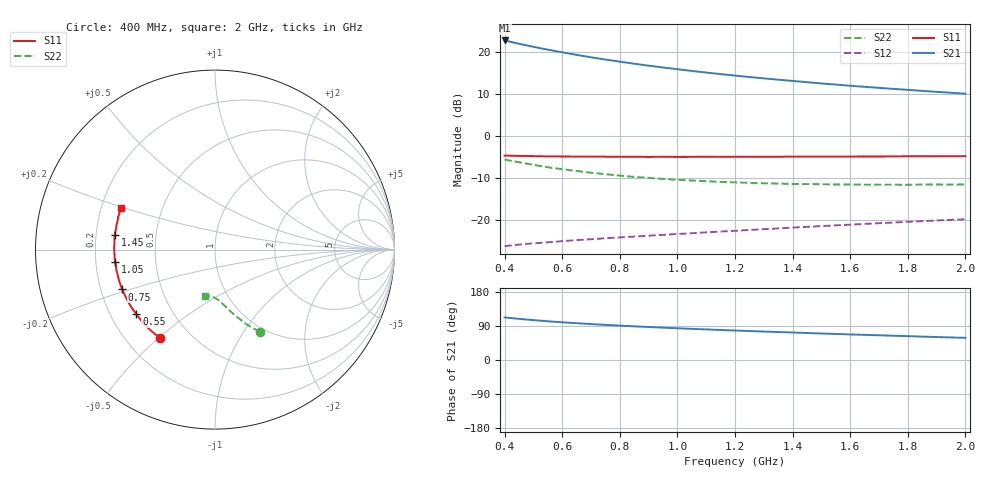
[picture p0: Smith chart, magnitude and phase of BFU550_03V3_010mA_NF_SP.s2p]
! Filename:  P:\Prog\Test\Noise\ATS_data\Testdata_Net\06 Compressed Noise after Statistics\BFU550_APG2013_43_D05_03p3V_010mA_NF_CM01_D.sf
! Date/Time: Fri 26/Apr/2013 13:07:20
! BFU550_APG2013_43_D05_03p3V_1to35mA_NF_CM01_Bias5_R.sf
! Noise Parameter Data File
! BFU550_APG2013_43_D05_03p3V_1to35mA_NF_CM01
! Date/time: Thu Apr 25 15:07:57 2013
! VAR V_out= 3.300000
! VAR I_out= 10.000000
! VAR V_in= 0.831400
! VAR I_in= 0.111705
! Device data file deembeded for feedlines and parallel
! Original file: \06 Compressed Noise after Statistics\BFU550_APG2013_43_D05_03p3V_010mA_NF_CM01_R.sf
! Feed-files: PR047V01_250413_Feed1.s2p, PR047V01_250413_Feed2.s2p
! Parallel-file: PR047V01_250413_Par.s2p
# MHz S MA R 50
!  Freq-MHz  S11-mag  S11-arg  S21-mag  S21-arg  S12-mag  S12-arg  S22-mag  S22-arg
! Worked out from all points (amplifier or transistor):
!   37 points, 400 MHz to 2 GHz, reference 50 ohm
!   highest |S21| = 22.7 dB at 400 MHz (marker M1)
!   |S21| within 3 dB of that: start of sweep to 614.6 MHz
!   unconditionally stable (mu >= 1): 1.689 GHz to end of sweep
!   at 500 MHz: K = 0.49, MSG = 23.4 dB, |S12| = -25.6 dB
!   at 1.1 GHz: K = 0.84, MSG = 19.0 dB, |S12| = -23.0 dB
!   at 2 GHz: K = 1.05, MAG = 13.6 dB, |S12| = -19.9 dB
!   lowest NFmin = 0.73 dB at 480 MHz
!   S11 on the Smith chart (normalised r, x): 400 MHz: 0.34, -0.51; 550 MHz: 0.31, -0.33; 750 MHz: 0.29, -0.19; 1.05 GHz: 0.28, -0.06; 1.45 GHz: 0.28, +0.07; 2 GHz: 0.28, +0.20
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400  0.5803 -121.9  13.59 112.3  0.04848 45.4  0.5209 -61.3
433  0.5763 -126.6  12.8 109.8  0.04992 44.5  0.4951 -63.5
460  0.5742 -130.2  12.21 107.9  0.05102 43.9  0.4769 -65.1
480  0.5732 -132.7  11.81 106.5  0.05175 43.6  0.4629 -66.1
500  0.5712 -135.0  11.42 105.3  0.05243 43.3  0.4508 -67.2
550  0.5672 -140.6  10.56 102.1  0.05384 42.9  0.4211 -69.4
600  0.5658 -145.2  9.823 99.5  0.05561 42.6  0.3993 -71.5
650  0.5645 -149.5  9.154 97.0  0.05721 42.5  0.38 -73.4
700  0.5631 -153.0  8.569 94.8  0.05867 42.5  0.3628 -74.9
750  0.5627 -156.8  8.057 92.7  0.06023 42.5  0.3485 -76.6
800  0.5619 -159.8  7.598 90.7  0.06166 42.7  0.3353 -78.1
850  0.5614 -162.8  7.185 88.9  0.06307 43.0  0.3233 -79.3
900  0.5598 -165.7  6.811 87.1  0.06459 43.3  0.3145 -80.7
950  0.5613 -168.1  6.484 85.4  0.06612 43.6  0.306 -81.9
1050  0.5604 -173.1  5.898 82.2  0.06915 44.2  0.2928 -84.2
1200  0.5612 -179.4  5.191 77.8  0.07389 45.0  0.2784 -87.3
1300  0.5613 177.0  4.81 75.1  0.07721 45.6  0.2718 -89.2
1450  0.563 171.7  4.332 71.2  0.08228 46.3  0.2657 -92.0
1500  0.5649 170.2  4.191 69.9  0.08401 46.5  0.2646 -93.0
1600  0.5645 166.9  3.928 67.5  0.0873 46.8  0.2626 -94.7
1750  0.5667 162.6  3.602 64.0  0.09259 47.3  0.261 -97.5
2000  0.5706 156.1  3.158 58.5  0.1013 47.7  0.263 -101.9
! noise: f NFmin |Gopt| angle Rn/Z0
400  0.7754  0.105  152.3  0.0821
460  0.7479  0.1583  164.8  0.0655
600  0.759  0.1468  163.1  0.0707
800  0.8147  0.1772  167.2  0.0684
1000  0.8394  0.1992  166.9  0.0666
1200  0.8815  0.2327  172.3  0.0625
1400  0.9137  0.2626  174.9  0.0571
1600  0.9534  0.2828  178.6  0.0605
1800  0.9129  0.3082  -178.6  0.0601
2000  1.024  0.3322  -174  0.0607
